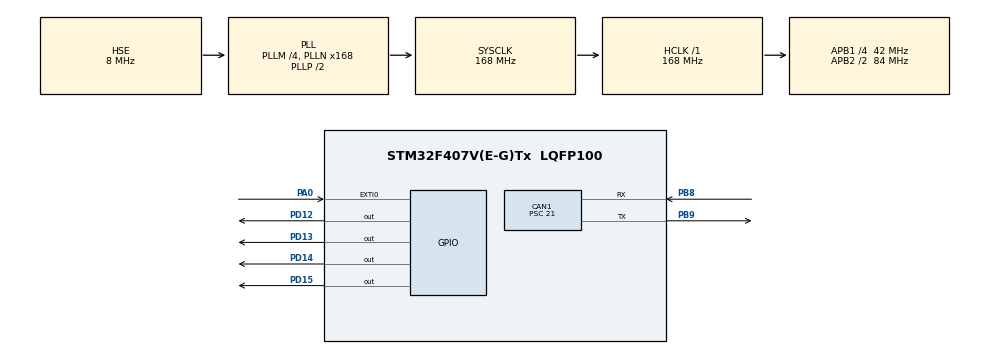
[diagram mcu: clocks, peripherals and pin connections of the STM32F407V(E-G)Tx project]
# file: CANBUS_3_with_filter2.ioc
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CAN1.BS1=CAN_BS1_10TQ
CAN1.BS2=CAN_BS2_5TQ
CAN1.CalculateBaudRate=125000
CAN1.CalculateTimeBit=8000
CAN1.CalculateTimeQuantum=500.0
CAN1.Prescaler=21
Mcu.Family=STM32F4
Mcu.Name=STM32F407V(E-G)Tx
Mcu.Package=LQFP100
NVIC.CAN1_RX0_IRQn=true\:0\:1\:false\:false\:true\:true\:true\:true
NVIC.EXTI0_IRQn=true\:0\:0\:false\:false\:true\:true\:true\:true
NVIC.PriorityGroup=NVIC_PRIORITYGROUP_0
PA0-WKUP.Signal=GPXTI0
PB8.Mode=CAN_Activate
PB8.Signal=CAN1_RX
PB9.Mode=CAN_Activate
PB9.Signal=CAN1_TX
PD12.Signal=GPIO_Output
PD13.Signal=GPIO_Output
PD14.Signal=GPIO_Output
PD15.Signal=GPIO_Output
PH0-OSC_IN.Mode=HSE-External-Oscillator
PH0-OSC_IN.Signal=RCC_OSC_IN
PH1-OSC_OUT.Mode=HSE-External-Oscillator
PH1-OSC_OUT.Signal=RCC_OSC_OUT
ProjectManager.HeapSize=0x200
ProjectManager.StackSize=0x400
ProjectManager.TargetToolchain=STM32CubeIDE
RCC.48MHZClocksFreq_Value=84000000
RCC.AHBFreq_Value=168000000
RCC.APB1CLKDivider=RCC_HCLK_DIV4
RCC.APB1Freq_Value=42000000
RCC.APB1TimFreq_Value=84000000
RCC.APB2CLKDivider=RCC_HCLK_DIV2
RCC.APB2Freq_Value=84000000
RCC.APB2TimFreq_Value=168000000
RCC.CortexFreq_Value=168000000
RCC.HCLKFreq_Value=168000000
RCC.HSE_VALUE=8000000
RCC.HSI_VALUE=16000000
RCC.LSE_VALUE=32768
RCC.PLLM=4
RCC.PLLN=168
RCC.PLLSourceVirtual=RCC_PLLSOURCE_HSE
RCC.SYSCLKFreq_VALUE=168000000
RCC.SYSCLKSource=RCC_SYSCLKSOURCE_PLLCLK
RCC.VCOOutputFreq_Value=336000000
board=custom

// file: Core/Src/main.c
/* USER CODE BEGIN Header */
/**
  ******************************************************************************
  * @file           : main.c
  * @brief          : Main program body
  ******************************************************************************
  * @attention
  *
  * Copyright (c) 2023 STMicroelectronics.
  * All rights reserved.
  *
  * This software is licensed under terms that can be found in the LICENSE file
  * in the root directory of this software component.
  * If no LICENSE file comes with this software, it is provided AS-IS.
  *
  ******************************************************************************
  */
/* USER CODE END Header */
#include "main.h"

CAN_HandleTypeDef hcan1;

/* USER CODE BEGIN PV */

CAN_TxHeaderTypeDef pTxHeader;

uint8_t count;
uint32_t pTxMailbox;

CAN_RxHeaderTypeDef pRxHeader;
uint8_t rcount;

CAN_FilterTypeDef sFilterConfig;

/* USER CODE END PV */

void SystemClock_Config(void);
static void MX_GPIO_Init(void);
static void MX_CAN1_Init(void);

int main(void)
{

  /* MCU Configuration--------------------------------------------------------*/

  /* Reset of all peripherals, Initializes the Flash interface and the Systick. */
  HAL_Init();

  /* Configure the system clock */
  SystemClock_Config();

  /* Initialize all configured peripherals */
  MX_GPIO_Init();
  MX_CAN1_Init();
  /* USER CODE BEGIN 2 */

  //start can communication
  HAL_CAN_Start(&hcan1);
  //enable interrupts
  HAL_CAN_ActivateNotification(&hcan1, CAN_IT_RX_FIFO0_MSG_PENDING);

  //set transmit parameters
  pTxHeader.DLC=1;
  pTxHeader.IDE=CAN_ID_STD;
  pTxHeader.RTR=CAN_RTR_DATA;
  pTxHeader.StdId=0X0156;
//set filter parameters
sFilterConfig.FilterActivation=ENABLE;
sFilterConfig.FilterBank=0;
sFilterConfig.FilterFIFOAssignment=CAN_FILTER_FIFO0;
sFilterConfig.FilterIdHigh=0x0000;
sFilterConfig.FilterIdLow=0x0120;
sFilterConfig.FilterMaskIdHigh=0xFFFF;
sFilterConfig.FilterMaskIdLow=0xFFFF;
sFilterConfig.FilterMode=CAN_FILTERMODE_IDMASK; //tek bir mesaj üzerine odaklıysan idlist
sFilterConfig.FilterScale=CAN_FILTERSCALE_16BIT;

HAL_CAN_ConfigFilter(&hcan1, &sFilterConfig);
  /* USER CODE END 2 */

  /* Infinite loop */
  while (1)
  {

  }
}

void SystemClock_Config(void)
{
  RCC_OscInitTypeDef RCC_OscInitStruct = {0};
  RCC_ClkInitTypeDef RCC_ClkInitStruct = {0};

  /** Configure the main internal regulator output voltage
  */
  __HAL_RCC_PWR_CLK_ENABLE();
  __HAL_PWR_VOLTAGESCALING_CONFIG(PWR_REGULATOR_VOLTAGE_SCALE1);

  /** Initializes the RCC Oscillators according to the specified parameters
  * in the RCC_OscInitTypeDef structure.
  */
  RCC_OscInitStruct.OscillatorType = RCC_OSCILLATORTYPE_HSE;
  RCC_OscInitStruct.HSEState = RCC_HSE_ON;
  RCC_OscInitStruct.PLL.PLLState = RCC_PLL_ON;
  RCC_OscInitStruct.PLL.PLLSource = RCC_PLLSOURCE_HSE;
  RCC_OscInitStruct.PLL.PLLM = 4;
  RCC_OscInitStruct.PLL.PLLN = 168;
  RCC_OscInitStruct.PLL.PLLP = RCC_PLLP_DIV2;
  RCC_OscInitStruct.PLL.PLLQ = 4;
  if (HAL_RCC_OscConfig(&RCC_OscInitStruct) != HAL_OK)
  {
    Error_Handler();
  }

  /** Initializes the CPU, AHB and APB buses clocks
  */
  RCC_ClkInitStruct.ClockType = RCC_CLOCKTYPE_HCLK|RCC_CLOCKTYPE_SYSCLK
                              |RCC_CLOCKTYPE_PCLK1|RCC_CLOCKTYPE_PCLK2;
  RCC_ClkInitStruct.SYSCLKSource = RCC_SYSCLKSOURCE_PLLCLK;
  RCC_ClkInitStruct.AHBCLKDivider = RCC_SYSCLK_DIV1;
  RCC_ClkInitStruct.APB1CLKDivider = RCC_HCLK_DIV4;
  RCC_ClkInitStruct.APB2CLKDivider = RCC_HCLK_DIV2;

  if (HAL_RCC_ClockConfig(&RCC_ClkInitStruct, FLASH_LATENCY_5) != HAL_OK)
  {
    Error_Handler();
  }
}

static void MX_CAN1_Init(void)
{

  hcan1.Instance = CAN1;
  hcan1.Init.Prescaler = 21;
  hcan1.Init.Mode = CAN_MODE_NORMAL;
  hcan1.Init.SyncJumpWidth = CAN_SJW_1TQ;
  hcan1.Init.TimeSeg1 = CAN_BS1_10TQ;
  hcan1.Init.TimeSeg2 = CAN_BS2_5TQ;
  hcan1.Init.TimeTriggeredMode = DISABLE;
  hcan1.Init.AutoBusOff = DISABLE;
  hcan1.Init.AutoWakeUp = DISABLE;
  hcan1.Init.AutoRetransmission = DISABLE;
  hcan1.Init.ReceiveFifoLocked = DISABLE;
  hcan1.Init.TransmitFifoPriority = DISABLE;
  if (HAL_CAN_Init(&hcan1) != HAL_OK)
  {
    Error_Handler();
  }

}

static void MX_GPIO_Init(void)
{
  GPIO_InitTypeDef GPIO_InitStruct = {0};

  /* GPIO Ports Clock Enable */
  __HAL_RCC_GPIOH_CLK_ENABLE();
  __HAL_RCC_GPIOA_CLK_ENABLE();
  __HAL_RCC_GPIOD_CLK_ENABLE();
  __HAL_RCC_GPIOB_CLK_ENABLE();

  /*Configure GPIO pin Output Level */
  HAL_GPIO_WritePin(GPIOD, GPIO_PIN_12|GPIO_PIN_13|GPIO_PIN_14|GPIO_PIN_15, GPIO_PIN_RESET);

  /*Configure GPIO pin : PA0 */
  GPIO_InitStruct.Pin = GPIO_PIN_0;
  GPIO_InitStruct.Mode = GPIO_MODE_IT_RISING;
  GPIO_InitStruct.Pull = GPIO_NOPULL;
  HAL_GPIO_Init(GPIOA, &GPIO_InitStruct);

  /*Configure GPIO pins : PD12 PD13 PD14 PD15 */
  GPIO_InitStruct.Pin = GPIO_PIN_12|GPIO_PIN_13|GPIO_PIN_14|GPIO_PIN_15;
  GPIO_InitStruct.Mode = GPIO_MODE_OUTPUT_PP;
  GPIO_InitStruct.Pull = GPIO_NOPULL;
  GPIO_InitStruct.Speed = GPIO_SPEED_FREQ_LOW;
  HAL_GPIO_Init(GPIOD, &GPIO_InitStruct);

  /* EXTI interrupt init*/
  HAL_NVIC_SetPriority(EXTI0_IRQn, 0, 0);
  HAL_NVIC_EnableIRQ(EXTI0_IRQn);

}

void Error_Handler(void)
{
  __disable_irq();
  while (1)
  {
  }
}
